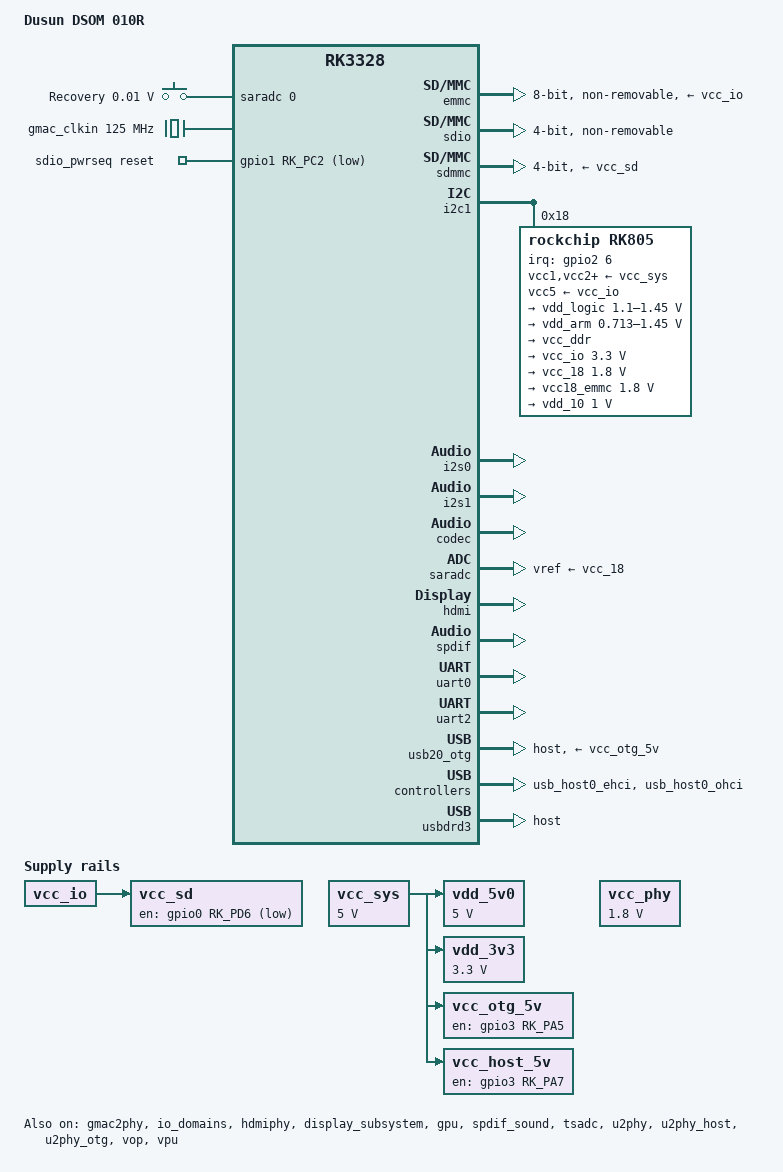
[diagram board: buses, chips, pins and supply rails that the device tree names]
// SPDX-License-Identifier: (GPL-2.0+ OR MIT)
/*
 * (C) Copyright 2025 Armbian developers
 *
 */

/dts-v1/;

#include <dt-bindings/gpio/gpio.h>
#include <dt-bindings/input/input.h>
#include <dt-bindings/leds/common.h>
#include <dt-bindings/pinctrl/rockchip.h>

#include "rk3328.dtsi"
#include "rk3328-dram-default-timing.dtsi"

/ {
	model = "Dusun DSOM 010R";
	compatible = "dusun,dsom-010r", "rockchip,rk3328";

	aliases {
		ethernet0 = &gmac2phy;
		mmc0 = &sdmmc;
		mmc1 = &sdio;
		mmc2 = &emmc;
	};

	chosen {
		stdout-path = "serial2:1500000n8";
	};

	adc-keys {
		compatible = "adc-keys";
		io-channels = <&saradc 0>;
		io-channel-names = "buttons";
		keyup-threshold-microvolt = <1750000>;

		/* This button is unpopulated out of the factory. */
		button-recovery {
			label = "Recovery";
			linux,code = <KEY_VENDOR>;
			press-threshold-microvolt = <10000>;
		};
	};

	gmac_clkin: external-gmac-clock {
		compatible = "fixed-clock";
		clock-frequency = <125000000>;
		clock-output-names = "gmac_clkin";
		#clock-cells = <0>;
	};

	leds {
		/* Base SoM contains no indication leds, hence this section is empty */
		compatible = "gpio-leds";
	};

	vcc_sys: vcc-sys {
		compatible = "regulator-fixed";
		regulator-name = "vcc_sys";
		regulator-always-on;
		regulator-boot-on;
		regulator-min-microvolt = <5000000>;
		regulator-max-microvolt = <5000000>;

	};

	vdd_5v0: vdd_5v0 {
		compatible = "regulator-fixed";
		regulator-name = "vdd_5v0";
		regulator-always-on;
		regulator-boot-on;
		regulator-min-microvolt = <5000000>;
		regulator-max-microvolt = <5000000>;
		vin-supply = <&vcc_sys>;
	};

	vdd_3v3: vdd_3v3 {
		compatible = "regulator-fixed";
		regulator-name = "vdd_3v3";
		regulator-always-on;
		regulator-boot-on;
		regulator-min-microvolt = <3300000>;
		regulator-max-microvolt = <3300000>;
		vin-supply = <&vcc_sys>;
	};

	vcc_sd: sdmmc-regulator {
		compatible = "regulator-fixed";
		gpio = <&gpio0 RK_PD6 GPIO_ACTIVE_LOW>;
		pinctrl-names = "default";
		pinctrl-0 = <&sdmmc0m1_pin>;
		regulator-name = "vcc_sd";
		regulator-boot-on;
		vin-supply = <&vcc_io>;
	};

	vcc_otg_5v: vcc-otg-5v-regulator {
		compatible = "regulator-fixed";
		gpio = <&gpio3 RK_PA5 GPIO_ACTIVE_HIGH>;
		pinctrl-names = "default";
		pinctrl-0 = <&usb_otg_drv>;
		enable-active-high;
		regulator-name = "vcc_otg_5v";
		vin-supply = <&vcc_sys>;
	};

	vcc_host_5v: vcc-host-5v-regulator {
		compatible = "regulator-fixed";
		gpio = <&gpio3 RK_PA7 GPIO_ACTIVE_HIGH>;
		pinctrl-names = "default";
		pinctrl-0 = <&usb_host_drv>;
		enable-active-high;
		regulator-always-on;
		regulator-name = "vcc_host_5v";
		vin-supply = <&vcc_sys>;
	};

	vcc_phy: vcc-phy-regulator {
		compatible = "regulator-fixed";
		regulator-name = "vcc_phy";
		regulator-min-microvolt = <1800000>;
		regulator-max-microvolt = <1800000>;
		regulator-always-on;
		regulator-boot-on;
	};

	/delete-node/ opp-table-0;

	cpu0_opp_table: opp_table0 {
		compatible = "operating-points-v2";
		opp-shared;

		opp-600000000 {
			opp-hz = /bits/ 64 <600000000>;
			opp-microvolt = <950000>;
			clock-latency-ns = <40000>;
			opp-suspend;
		};
		opp-816000000 {
			opp-hz = /bits/ 64 <816000000>;
			opp-microvolt = <1000000>;
			clock-latency-ns = <40000>;
		};
		opp-1008000000 {
			opp-hz = /bits/ 64 <1008000000>;
			opp-microvolt = <1100000>;
			clock-latency-ns = <40000>;
		};
		opp-1200000000 {
			opp-hz = /bits/ 64 <1200000000>;
			opp-microvolt = <1200000>;
			clock-latency-ns = <40000>;
		};
		opp-1296000000 {
			opp-hz = /bits/ 64 <1296000000>;
			opp-microvolt = <1275000>;
			clock-latency-ns = <40000>;
		};
	};

	sdio_pwrseq: sdio-pwrseq {
		compatible = "mmc-pwrseq-simple";
		pinctrl-names = "default";
		pinctrl-0 = <&wifi_en>;
		reset-gpios = <&gpio1 RK_PC2 GPIO_ACTIVE_LOW>;
	};

	analog_sound: analog-sound {
		compatible = "simple-audio-card";
		simple-audio-card,format = "i2s";
		simple-audio-card,mclk-fs = <256>;
		simple-audio-card,name = "ANALOG";
		status = "okay";

		simple-audio-card,cpu {
			sound-dai = <&i2s1>;
		};

		simple-audio-card,codec {
			sound-dai = <&codec>;
		};


	};

	hdmi_sound: hdmi-sound {
		compatible = "simple-audio-card";
		simple-audio-card,format = "i2s";
		simple-audio-card,mclk-fs = <128>;
		simple-audio-card,name = "HDMI";
		status = "okay";

		simple-audio-card,cpu {
			sound-dai = <&i2s0>;
		};

		simple-audio-card,codec {
			sound-dai = <&hdmi>;
		};

	};

};

&cpu0 {
	cpu-supply = <&vdd_arm>;
};

&cpu1 {
	cpu-supply = <&vdd_arm>;
};

&cpu2 {
	cpu-supply = <&vdd_arm>;
};

&cpu3 {
	cpu-supply = <&vdd_arm>;
};

&emmc {
	bus-width = <8>;
	cap-mmc-highspeed;
	mmc-ddr-1_8v;
	mmc-hs200-1_8v;
	non-removable;
	pinctrl-names = "default";
	pinctrl-0 = <&emmc_clk>, <&emmc_cmd>, <&emmc_bus8>;
	vmmc-supply = <&vcc_io>;
	vqmmc-supply = <&vcc18_emmc>;
	status = "okay";
};

&sdio {
	#address-cells = <1>;
	#size-cells = <0>;
	bus-width = <4>;
	no-sd;
	no-mmc;
	cap-sd-highspeed;
	cap-sdio-irq;
	disable-wp;
	keep-power-in-suspend;
	mmc-pwrseq = <&sdio_pwrseq>;
	non-removable;
	num-slots = <1>;
	pinctrl-names = "default";
	pinctrl-0 = <&sdmmc1_bus4 &sdmmc1_cmd &sdmmc1_clk>;
	supports-sdio;
	status = "okay";

};

&sdmmc {
	bus-width = <4>;
	cap-sd-highspeed;
	disable-wp;
	pinctrl-names = "default";
	pinctrl-0 = <&sdmmc0_clk>, <&sdmmc0_cmd>, <&sdmmc0_dectn>, <&sdmmc0_bus4>;
	vmmc-supply = <&vcc_sd>;
	status = "okay";
};

&gmac2phy {
	clock_in_out = "output";
	assigned-clocks = <&cru SCLK_MAC2PHY>;
	assigned-clock-rate = <50000000>;
	assigned-clock-parents = <&cru SCLK_MAC2PHY_SRC>;
	phy-supply = <&vcc_phy>;
	phy-mode = "rmii";
	tx_delay = <0x30>;
	rx_delay = <0x10>;
	status = "okay";
};

&gpio0 {
	gpio-line-names =
		/* GPIO0_A0 - A7 */
		"", "", "", "", "", "", "", "",
		/* GPIO0_B0 - B7 */
		"", "", "", "", "", "", "", "",
		/* GPIO0_C0 - C7 */
		"", "", "", "", "", "", "", "",
		/* GPIO0_D0 - D7 */
		"", "", "", "pin-15 [GPIO0_D3]", "", "", "", "";
};

&gpio1 {
	gpio-line-names =
		/* GPIO1_A0 - A7 */
		"", "", "", "", "", "", "", "",
		/* GPIO1_B0 - B7 */
		"", "", "", "", "", "", "", "",
		/* GPIO1_C0 - C7 */
		"", "", "", "", "", "", "", "",
		/* GPIO1_D0 - D7 */
		"", "", "", "", "pin-07 [GPIO1_D4]", "", "", "";
};

&gpio2 {
	gpio-line-names =
		/* GPIO2_A0 - A7 */
		"pin-08 [GPIO2_A0]", "pin-10 [GPIO2_A1]", "pin-11 [GPIO2_A2]",
		"pin-13 [GPIO2_A3]", "pin-27 [GPIO2_A4]", "pin-28 [GPIO2_A5]",
		"pin-33 [GPIO2_A6]", "",
		/* GPIO2_B0 - B7 */
		"", "", "", "", "pin-26 [GPIO2_B4]", "", "", "pin-36 [GPIO2_B7]",
		/* GPIO2_C0 - C7 */
		"pin-32 [GPIO2_C0]", "pin-35 [GPIO2_C1]", "pin-12 [GPIO2_C2]",
		"pin-38 [GPIO2_C3]", "pin-29 [GPIO2_C4]", "pin-31 [GPIO2_C5]",
		"pin-37 [GPIO2_C6]", "pin-40 [GPIO2_C7]",
		/* GPIO2_D0 - D7 */
		"", "", "", "", "", "", "", "";
};

&gpio3 {
	gpio-line-names =
		/* GPIO3_A0 - A7 */
		"pin-23 [GPIO3_A0]", "pin-19 [GPIO3_A1]", "pin-21 [GPIO3_A2]",
		"", "pin-03 [GPIO3_A4]", "", "pin-05 [GPIO3_A6]", "",
		/* GPIO3_B0 - B7 */
		"pin-24 [GPIO3_B0]", "", "", "", "", "", "", "",
		/* GPIO3_C0 - C7 */
		"", "", "", "", "", "", "", "",
		/* GPIO3_D0 - D7 */
		"", "", "", "", "", "", "", "";
};

&i2c1 {
	status = "okay";

	rk805: pmic@18 {
		compatible = "rockchip,rk805";
		reg = <0x18>;
		interrupt-parent = <&gpio2>;
		interrupts = <6 IRQ_TYPE_LEVEL_LOW>;
		#clock-cells = <1>;
		clock-output-names = "xin32k", "rk805-clkout2";
		gpio-controller;
		#gpio-cells = <2>;
		pinctrl-names = "default";
		pinctrl-0 = <&pmic_int_l>, <&pmic_sleep_l>;
		rockchip,system-power-controller;
		wakeup-source;

		vcc1-supply = <&vcc_sys>;
		vcc2-supply = <&vcc_sys>;
		vcc3-supply = <&vcc_sys>;
		vcc4-supply = <&vcc_sys>;
		vcc5-supply = <&vcc_io>;
		vcc6-supply = <&vcc_sys>;

		regulators {
			vdd_logic: DCDC_REG1 {
				regulator-name = "vdd_log";
				regulator-always-on;
				regulator-boot-on;
				//regulator-min-microvolt = <712500>;
				regulator-min-microvolt = <1100000>;
				regulator-max-microvolt = <1450000>;
				regulator-ramp-delay = <12500>;

				regulator-state-mem {
					regulator-on-in-suspend;
					regulator-suspend-microvolt = <1000000>;
				};
			};

			vdd_arm: DCDC_REG2 {
				regulator-name = "vdd_arm";
				regulator-always-on;
				regulator-boot-on;
				regulator-min-microvolt = <712500>;
				regulator-max-microvolt = <1450000>;
				regulator-ramp-delay = <12500>;

				regulator-state-mem {
					regulator-on-in-suspend;
					regulator-suspend-microvolt = <950000>;
				};
			};

			vcc_ddr: DCDC_REG3 {
				regulator-name = "vcc_ddr";
				regulator-always-on;
				regulator-boot-on;

				regulator-state-mem {
					regulator-on-in-suspend;
				};
			};

			vcc_io: DCDC_REG4 {
				regulator-name = "vcc_io";
				regulator-always-on;
				regulator-boot-on;
				regulator-min-microvolt = <3300000>;
				regulator-max-microvolt = <3300000>;

				regulator-state-mem {
					regulator-on-in-suspend;
					regulator-suspend-microvolt = <3300000>;
				};
			};

			vcc_18: LDO_REG1 {
				regulator-name = "vcc_18";
				regulator-always-on;
				regulator-boot-on;
				regulator-min-microvolt = <1800000>;
				regulator-max-microvolt = <1800000>;

				regulator-state-mem {
					regulator-on-in-suspend;
					regulator-suspend-microvolt = <1800000>;
				};
			};

			vcc18_emmc: LDO_REG2 {
				regulator-name = "vcc18_emmc";
				regulator-always-on;
				regulator-boot-on;
				regulator-min-microvolt = <1800000>;
				regulator-max-microvolt = <1800000>;

				regulator-state-mem {
					regulator-on-in-suspend;
					regulator-suspend-microvolt = <1800000>;
				};
			};

			vdd_10: LDO_REG3 {
				regulator-name = "vdd_10";
				regulator-always-on;
				regulator-boot-on;
				regulator-min-microvolt = <1000000>;
				regulator-max-microvolt = <1000000>;

				regulator-state-mem {
					regulator-on-in-suspend;
					regulator-suspend-microvolt = <1000000>;
				};
			};
		};
	};

};

&i2s0 {
	status = "okay";
};

&i2s1 {
	status = "okay";
};

&codec {
	status = "okay";
	mute-gpios = <&grf_gpio 0 GPIO_ACTIVE_LOW>;
};

&io_domains {
	pmuio-supply = <&vcc_io>;
	vccio1-supply = <&vcc_io>;
	vccio2-supply = <&vcc18_emmc>;
	vccio3-supply = <&vcc_io>;
	vccio4-supply = <&vcc_18>;
	vccio5-supply = <&vcc_io>;
	vccio6-supply = <&vcc_io>;
	status = "okay";
};

&pinctrl {

	pmic {
		pmic_int_l: pmic-int-l {
			rockchip,pins = <2 RK_PA6 RK_FUNC_GPIO &pcfg_pull_up>;
		};

		pmic_sleep_l: pmic-sleep-l {
			rockchip,pins = <2 RK_PD2 RK_FUNC_GPIO &pcfg_pull_down>;
		};
	};

	usb2 {
		usb_otg_drv: usb-otg-drv {
			rockchip,pins = <3 RK_PA5 RK_FUNC_GPIO &pcfg_pull_none>;
		};

		usb_host_drv: usb-host-drv {
			rockchip,pins = <3 RK_PA7 RK_FUNC_GPIO &pcfg_pull_none>;
		};

		hub_rst: hub-reset {
			rockchip,pins = <2 RK_PA3 RK_FUNC_GPIO &pcfg_pull_down>;
		};
	};

	wifi {

		wifi_en: wifi-en {
			rockchip,pins = <1 RK_PC2 RK_FUNC_GPIO &pcfg_pull_none>;
		};

		sdio_host_wake: sdio-host-wake {
			rockchip,pins = <1 RK_PC3 RK_FUNC_GPIO &pcfg_pull_none>;
		};

	};

	bluetooth {


		bt_reg_on_h: bt-enable {
			rockchip,pins = <1 RK_PC5 0 &pcfg_pull_none>;
		};

		bt_device_wake_l: bt-device-wake {
			rockchip,pins = <1 RK_PC7 0 &pcfg_pull_none>;
		};

		bt_host_wake_l: bt-host-wake {
			rockchip,pins = <1 RK_PD2 0 &pcfg_pull_none>;
		};

	};

};

&saradc {
	vref-supply = <&vcc_18>;
	status = "okay";
};

&dmc {
	status = "disabled";
};

&hdmi {
	status = "okay";
};

&hdmiphy {
	status = "okay";
};

&display_subsystem {
	status = "okay";
};

&gpu {
 	status = "okay";
	mali-supply = <&vdd_logic>;
};

&spdif {
	pinctrl-0 = <&spdifm0_tx>;
	status = "okay";
};

&spdif_out {
	status = "okay";
};

&spdif_sound {
	status = "okay";
};

&threshold {
	temperature = <80000>; /* millicelsius */
};

&target {
	temperature = <95000>; /* millicelsius */
};

&soc_crit {
	temperature = <100000>; /* millicelsius */
};

&tsadc {
	rockchip,hw-tshut-mode = <0>;
	rockchip,hw-tshut-polarity = <0>;
	status = "okay";
};

&uart0 {
	status = "okay";

	pinctrl-names = "default";
	pinctrl-0 = <&uart0_xfer &uart0_rts &uart0_cts>;

};

&uart2 {
	/delete-property/ dmas;
	/delete-property/ dma-names;

	status = "okay";
};

&u2phy {
	status = "okay";
};

&u2phy_host {
	status = "okay";
};

&u2phy_otg {
	status = "okay";
};

&usb20_otg {
	dr_mode = "host";
	resets = <&cru SRST_USB2OTG>;
	reset-names = "dwc2";
	vbus-supply = <&vcc_otg_5v>;
	status = "okay";
};

&usb_host0_ehci {
	#address-cells = <1>;
	#size-cells = <0>;
	resets = <&cru SRST_USB2HOST_EHCIPHY>;
	reset-names = "ehci";
	status = "okay";
};

&usb_host0_ohci {
	status = "okay";
};

&usbdrd3 {
	#address-cells = <1>;
	#size-cells = <0>;
	dr_mode = "host";
	status = "okay";
};

&vop {
	status = "okay";
};

&vop_mmu {
	status = "okay";
};

&vpu {
	status = "okay";
	vcodec-supply = <&vdd_logic>;
};

&vpu_mmu {
	status = "okay";
};

&vepu_mmu {
	status = "okay";
};

&h265e_mmu {
	status = "okay";
};

